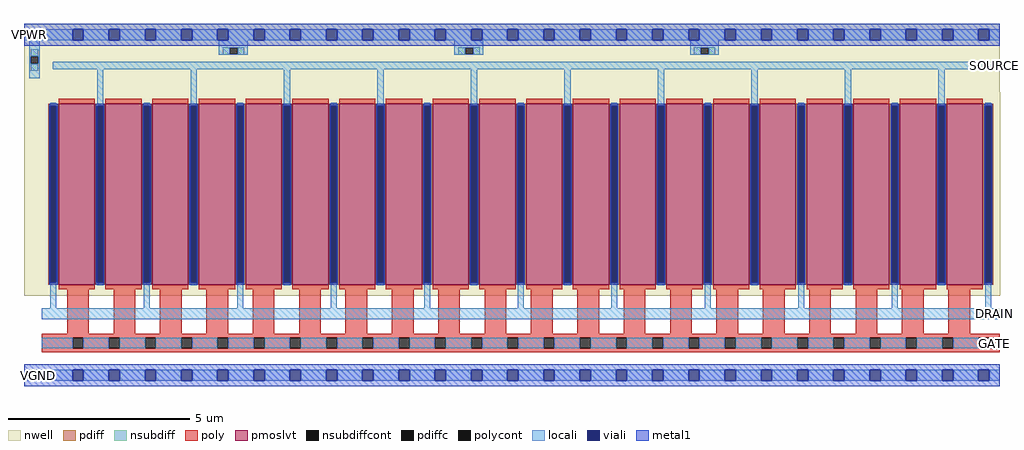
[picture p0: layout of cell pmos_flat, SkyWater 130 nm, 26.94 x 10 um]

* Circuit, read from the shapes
.subckt pmos_flat DRAIN GATE SOURCE VGND VPWR
XM1 SOURCE GATE DRAIN VPWR sky130_fd_pr__pfet_01v8_lvt w=5 l=1 m=20
.ends

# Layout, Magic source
magic
tech sky130A
magscale 1 2
<< nwell >>
rect -2742 562 2644 940
rect -2742 -562 2645 562
<< pmoslvt >>
rect -2551 -500 -2351 500
rect -2293 -500 -2093 500
rect -2035 -500 -1835 500
rect -1777 -500 -1577 500
rect -1519 -500 -1319 500
rect -1261 -500 -1061 500
rect -1003 -500 -803 500
rect -745 -500 -545 500
rect -487 -500 -287 500
rect -229 -500 -29 500
rect 29 -500 229 500
rect 287 -500 487 500
rect 545 -500 745 500
rect 803 -500 1003 500
rect 1061 -500 1261 500
rect 1319 -500 1519 500
rect 1577 -500 1777 500
rect 1835 -500 2035 500
rect 2093 -500 2293 500
rect 2351 -500 2551 500
<< pdiff >>
rect -2609 488 -2551 500
rect -2609 -488 -2597 488
rect -2563 -488 -2551 488
rect -2609 -500 -2551 -488
rect -2351 488 -2293 500
rect -2351 -488 -2339 488
rect -2305 -488 -2293 488
rect -2351 -500 -2293 -488
rect -2093 488 -2035 500
rect -2093 -488 -2081 488
rect -2047 -488 -2035 488
rect -2093 -500 -2035 -488
rect -1835 488 -1777 500
rect -1835 -488 -1823 488
rect -1789 -488 -1777 488
rect -1835 -500 -1777 -488
rect -1577 488 -1519 500
rect -1577 -488 -1565 488
rect -1531 -488 -1519 488
rect -1577 -500 -1519 -488
rect -1319 488 -1261 500
rect -1319 -488 -1307 488
rect -1273 -488 -1261 488
rect -1319 -500 -1261 -488
rect -1061 488 -1003 500
rect -1061 -488 -1049 488
rect -1015 -488 -1003 488
rect -1061 -500 -1003 -488
rect -803 488 -745 500
rect -803 -488 -791 488
rect -757 -488 -745 488
rect -803 -500 -745 -488
rect -545 488 -487 500
rect -545 -488 -533 488
rect -499 -488 -487 488
rect -545 -500 -487 -488
rect -287 488 -229 500
rect -287 -488 -275 488
rect -241 -488 -229 488
rect -287 -500 -229 -488
rect -29 488 29 500
rect -29 -488 -17 488
rect 17 -488 29 488
rect -29 -500 29 -488
rect 229 488 287 500
rect 229 -488 241 488
rect 275 -488 287 488
rect 229 -500 287 -488
rect 487 488 545 500
rect 487 -488 499 488
rect 533 -488 545 488
rect 487 -500 545 -488
rect 745 488 803 500
rect 745 -488 757 488
rect 791 -488 803 488
rect 745 -500 803 -488
rect 1003 488 1061 500
rect 1003 -488 1015 488
rect 1049 -488 1061 488
rect 1003 -500 1061 -488
rect 1261 488 1319 500
rect 1261 -488 1273 488
rect 1307 -488 1319 488
rect 1261 -500 1319 -488
rect 1519 488 1577 500
rect 1519 -488 1531 488
rect 1565 -488 1577 488
rect 1519 -500 1577 -488
rect 1777 488 1835 500
rect 1777 -488 1789 488
rect 1823 -488 1835 488
rect 1777 -500 1835 -488
rect 2035 488 2093 500
rect 2035 -488 2047 488
rect 2081 -488 2093 488
rect 2035 -500 2093 -488
rect 2293 488 2351 500
rect 2293 -488 2305 488
rect 2339 -488 2351 488
rect 2293 -500 2351 -488
rect 2551 488 2609 500
rect 2551 -488 2563 488
rect 2597 -488 2609 488
rect 2551 -500 2609 -488
<< pdiffc >>
rect -2597 -488 -2563 488
rect -2339 -488 -2305 488
rect -2081 -488 -2047 488
rect -1823 -488 -1789 488
rect -1565 -488 -1531 488
rect -1307 -488 -1273 488
rect -1049 -488 -1015 488
rect -791 -488 -757 488
rect -533 -488 -499 488
rect -275 -488 -241 488
rect -17 -488 17 488
rect 241 -488 275 488
rect 499 -488 533 488
rect 757 -488 791 488
rect 1015 -488 1049 488
rect 1273 -488 1307 488
rect 1531 -488 1565 488
rect 1789 -488 1823 488
rect 2047 -488 2081 488
rect 2305 -488 2339 488
rect 2563 -488 2597 488
<< nsubdiff >>
rect -1646 808 -1526 810
rect -2704 760 -2664 800
rect -1646 772 -1606 808
rect -1562 772 -1526 808
rect -1646 770 -1526 772
rect -346 808 -226 810
rect -346 772 -306 808
rect -262 772 -226 808
rect -346 770 -226 772
rect 954 808 1074 810
rect 954 772 994 808
rect 1038 772 1074 808
rect 954 770 1074 772
rect -2704 680 -2664 720
<< nsubdiffcont >>
rect -1606 772 -1562 808
rect -306 772 -262 808
rect 994 772 1038 808
rect -2704 720 -2664 760
<< poly >>
rect -2551 500 -2351 526
rect -2293 500 -2093 526
rect -2035 500 -1835 526
rect -1777 500 -1577 526
rect -1519 500 -1319 526
rect -1261 500 -1061 526
rect -1003 500 -803 526
rect -745 500 -545 526
rect -487 500 -287 526
rect -229 500 -29 526
rect 29 500 229 526
rect 287 500 487 526
rect 545 500 745 526
rect 803 500 1003 526
rect 1061 500 1261 526
rect 1319 500 1519 526
rect 1577 500 1777 526
rect 1835 500 2035 526
rect 2093 500 2293 526
rect 2351 500 2551 526
rect -2551 -526 -2351 -500
rect -2293 -526 -2093 -500
rect -2035 -526 -1835 -500
rect -1777 -526 -1577 -500
rect -1519 -526 -1319 -500
rect -1261 -526 -1061 -500
rect -1003 -526 -803 -500
rect -745 -526 -545 -500
rect -487 -526 -287 -500
rect -229 -526 -29 -500
rect 29 -526 229 -500
rect 287 -526 487 -500
rect 545 -526 745 -500
rect 803 -526 1003 -500
rect 1061 -526 1261 -500
rect 1319 -526 1519 -500
rect 1577 -526 1777 -500
rect 1835 -526 2035 -500
rect 2093 -526 2293 -500
rect 2351 -526 2551 -500
rect -2504 -772 -2384 -526
rect -2248 -772 -2128 -526
rect -1992 -772 -1872 -526
rect -1736 -772 -1616 -526
rect -1480 -772 -1360 -526
rect -1224 -772 -1104 -526
rect -968 -772 -848 -526
rect -712 -772 -592 -526
rect -456 -772 -336 -526
rect -200 -772 -80 -526
rect 56 -772 176 -526
rect 312 -772 432 -526
rect 568 -772 688 -526
rect 824 -772 944 -526
rect 1080 -772 1200 -526
rect 1336 -772 1456 -526
rect 1592 -772 1712 -526
rect 1848 -772 1968 -526
rect 2104 -772 2224 -526
rect 2360 -772 2480 -526
rect -2644 -792 2644 -772
rect -2644 -852 -2474 -792
rect -2414 -852 -2274 -792
rect -2214 -852 -2074 -792
rect -2014 -852 -1874 -792
rect -1814 -852 -1674 -792
rect -1614 -852 -1474 -792
rect -1414 -852 -1274 -792
rect -1214 -852 -1074 -792
rect -1014 -852 -874 -792
rect -814 -852 -674 -792
rect -614 -852 -474 -792
rect -414 -852 -274 -792
rect -214 -852 -74 -792
rect -14 -852 126 -792
rect 186 -852 326 -792
rect 386 -852 526 -792
rect 586 -852 726 -792
rect 786 -852 926 -792
rect 986 -852 1126 -792
rect 1186 -852 1326 -792
rect 1386 -852 1526 -792
rect 1586 -852 1726 -792
rect 1786 -852 1926 -792
rect 1986 -852 2126 -792
rect 2186 -852 2326 -792
rect 2386 -852 2526 -792
rect 2586 -852 2644 -792
rect -2644 -872 2644 -852
<< polycont >>
rect -2474 -852 -2414 -792
rect -2274 -852 -2214 -792
rect -2074 -852 -2014 -792
rect -1874 -852 -1814 -792
rect -1674 -852 -1614 -792
rect -1474 -852 -1414 -792
rect -1274 -852 -1214 -792
rect -1074 -852 -1014 -792
rect -874 -852 -814 -792
rect -674 -852 -614 -792
rect -474 -852 -414 -792
rect -274 -852 -214 -792
rect -74 -852 -14 -792
rect 126 -852 186 -792
rect 326 -852 386 -792
rect 526 -852 586 -792
rect 726 -852 786 -792
rect 926 -852 986 -792
rect 1126 -852 1186 -792
rect 1326 -852 1386 -792
rect 1526 -852 1586 -792
rect 1726 -852 1786 -792
rect 1926 -852 1986 -792
rect 2126 -852 2186 -792
rect 2326 -852 2386 -792
rect 2526 -852 2586 -792
<< locali >>
rect -2742 850 -2474 910
rect -2414 850 -2274 910
rect -2214 850 -2074 910
rect -2014 850 -1874 910
rect -1814 850 -1674 910
rect -1614 850 -1474 910
rect -1414 850 -1274 910
rect -1214 850 -1074 910
rect -1014 850 -874 910
rect -814 850 -674 910
rect -614 850 -474 910
rect -414 850 -274 910
rect -214 850 -74 910
rect -14 850 126 910
rect 186 850 326 910
rect 386 850 526 910
rect 586 850 726 910
rect 786 850 926 910
rect 986 850 1126 910
rect 1186 850 1326 910
rect 1386 850 1526 910
rect 1586 850 1726 910
rect 1786 850 1926 910
rect 1986 850 2126 910
rect 2186 850 2326 910
rect 2386 850 2526 910
rect 2586 850 2644 910
rect -2714 760 -2654 850
rect -1666 808 -1506 850
rect -1666 772 -1606 808
rect -1562 772 -1506 808
rect -1666 770 -1506 772
rect -366 808 -206 850
rect -366 772 -306 808
rect -262 772 -206 808
rect -366 770 -206 772
rect 934 808 1094 850
rect 934 772 994 808
rect 1038 772 1094 808
rect 934 770 1094 772
rect -2714 720 -2704 760
rect -2664 720 -2654 760
rect -2714 640 -2654 720
rect -2584 690 2644 730
rect -2597 488 -2563 504
rect -2597 -630 -2563 -488
rect -2339 488 -2305 690
rect -2339 -504 -2305 -488
rect -2081 488 -2047 504
rect -2081 -630 -2047 -488
rect -1823 488 -1789 690
rect -1823 -504 -1789 -488
rect -1565 488 -1531 504
rect -1565 -630 -1531 -488
rect -1307 488 -1273 690
rect -1307 -504 -1273 -488
rect -1049 488 -1015 504
rect -1049 -630 -1015 -488
rect -791 488 -757 690
rect -791 -504 -757 -488
rect -533 488 -499 504
rect -533 -630 -499 -488
rect -275 488 -241 690
rect -275 -504 -241 -488
rect -17 488 17 504
rect -17 -630 17 -488
rect 241 488 275 690
rect 241 -504 275 -488
rect 499 488 533 504
rect 499 -630 533 -488
rect 757 488 791 690
rect 757 -504 791 -488
rect 1015 488 1049 504
rect 1015 -630 1049 -488
rect 1273 488 1307 690
rect 1273 -504 1307 -488
rect 1531 488 1565 504
rect 1531 -630 1565 -488
rect 1789 488 1823 690
rect 1789 -504 1823 -488
rect 2047 488 2081 504
rect 2047 -630 2081 -488
rect 2305 488 2339 690
rect 2305 -504 2339 -488
rect 2563 488 2597 504
rect 2563 -630 2597 -488
rect -2644 -690 2644 -630
rect -2644 -852 -2474 -792
rect -2414 -852 -2274 -792
rect -2214 -852 -2074 -792
rect -2014 -852 -1874 -792
rect -1814 -852 -1674 -792
rect -1614 -852 -1474 -792
rect -1414 -852 -1274 -792
rect -1214 -852 -1074 -792
rect -1014 -852 -874 -792
rect -814 -852 -674 -792
rect -614 -852 -474 -792
rect -414 -852 -274 -792
rect -214 -852 -74 -792
rect -14 -852 126 -792
rect 186 -852 326 -792
rect 386 -852 526 -792
rect 586 -852 726 -792
rect 786 -852 926 -792
rect 986 -852 1126 -792
rect 1186 -852 1326 -792
rect 1386 -852 1526 -792
rect 1586 -852 1726 -792
rect 1786 -852 1926 -792
rect 1986 -852 2126 -792
rect 2186 -852 2326 -792
rect 2386 -852 2526 -792
rect 2586 -852 2644 -792
rect -2742 -1030 -2474 -970
rect -2414 -1030 -2274 -970
rect -2214 -1030 -2074 -970
rect -2014 -1030 -1874 -970
rect -1814 -1030 -1674 -970
rect -1614 -1030 -1474 -970
rect -1414 -1030 -1274 -970
rect -1214 -1030 -1074 -970
rect -1014 -1030 -874 -970
rect -814 -1030 -674 -970
rect -614 -1030 -474 -970
rect -414 -1030 -274 -970
rect -214 -1030 -74 -970
rect -14 -1030 126 -970
rect 186 -1030 326 -970
rect 386 -1030 526 -970
rect 586 -1030 726 -970
rect 786 -1030 926 -970
rect 986 -1030 1126 -970
rect 1186 -1030 1326 -970
rect 1386 -1030 1526 -970
rect 1586 -1030 1726 -970
rect 1786 -1030 1926 -970
rect 1986 -1030 2126 -970
rect 2186 -1030 2326 -970
rect 2386 -1030 2526 -970
rect 2586 -1030 2644 -970
<< viali >>
rect -2474 850 -2414 910
rect -2274 850 -2214 910
rect -2074 850 -2014 910
rect -1874 850 -1814 910
rect -1674 850 -1614 910
rect -1474 850 -1414 910
rect -1274 850 -1214 910
rect -1074 850 -1014 910
rect -874 850 -814 910
rect -674 850 -614 910
rect -474 850 -414 910
rect -274 850 -214 910
rect -74 850 -14 910
rect 126 850 186 910
rect 326 850 386 910
rect 526 850 586 910
rect 726 850 786 910
rect 926 850 986 910
rect 1126 850 1186 910
rect 1326 850 1386 910
rect 1526 850 1586 910
rect 1726 850 1786 910
rect 1926 850 1986 910
rect 2126 850 2186 910
rect 2326 850 2386 910
rect 2526 850 2586 910
rect -2597 -488 -2563 488
rect -2339 -488 -2305 488
rect -2081 -488 -2047 488
rect -1823 -488 -1789 488
rect -1565 -488 -1531 488
rect -1307 -488 -1273 488
rect -1049 -488 -1015 488
rect -791 -488 -757 488
rect -533 -488 -499 488
rect -275 -488 -241 488
rect -17 -488 17 488
rect 241 -488 275 488
rect 499 -488 533 488
rect 757 -488 791 488
rect 1015 -488 1049 488
rect 1273 -488 1307 488
rect 1531 -488 1565 488
rect 1789 -488 1823 488
rect 2047 -488 2081 488
rect 2305 -488 2339 488
rect 2563 -488 2597 488
rect -2474 -1030 -2414 -970
rect -2274 -1030 -2214 -970
rect -2074 -1030 -2014 -970
rect -1874 -1030 -1814 -970
rect -1674 -1030 -1614 -970
rect -1474 -1030 -1414 -970
rect -1274 -1030 -1214 -970
rect -1074 -1030 -1014 -970
rect -874 -1030 -814 -970
rect -674 -1030 -614 -970
rect -474 -1030 -414 -970
rect -274 -1030 -214 -970
rect -74 -1030 -14 -970
rect 126 -1030 186 -970
rect 326 -1030 386 -970
rect 526 -1030 586 -970
rect 726 -1030 786 -970
rect 926 -1030 986 -970
rect 1126 -1030 1186 -970
rect 1326 -1030 1386 -970
rect 1526 -1030 1586 -970
rect 1726 -1030 1786 -970
rect 1926 -1030 1986 -970
rect 2126 -1030 2186 -970
rect 2326 -1030 2386 -970
rect 2526 -1030 2586 -970
<< metal1 >>
rect -2742 910 2644 940
rect -2742 850 -2474 910
rect -2414 850 -2274 910
rect -2214 850 -2074 910
rect -2014 850 -1874 910
rect -1814 850 -1674 910
rect -1614 850 -1474 910
rect -1414 850 -1274 910
rect -1214 850 -1074 910
rect -1014 850 -874 910
rect -814 850 -674 910
rect -614 850 -474 910
rect -414 850 -274 910
rect -214 850 -74 910
rect -14 850 126 910
rect 186 850 326 910
rect 386 850 526 910
rect 586 850 726 910
rect 786 850 926 910
rect 986 850 1126 910
rect 1186 850 1326 910
rect 1386 850 1526 910
rect 1586 850 1726 910
rect 1786 850 1926 910
rect 1986 850 2126 910
rect 2186 850 2326 910
rect 2386 850 2526 910
rect 2586 850 2644 910
rect -2742 820 2644 850
rect -2603 488 -2557 500
rect -2603 -488 -2597 488
rect -2563 -488 -2557 488
rect -2603 -500 -2557 -488
rect -2345 488 -2299 500
rect -2345 -488 -2339 488
rect -2305 -488 -2299 488
rect -2345 -500 -2299 -488
rect -2087 488 -2041 500
rect -2087 -488 -2081 488
rect -2047 -488 -2041 488
rect -2087 -500 -2041 -488
rect -1829 488 -1783 500
rect -1829 -488 -1823 488
rect -1789 -488 -1783 488
rect -1829 -500 -1783 -488
rect -1571 488 -1525 500
rect -1571 -488 -1565 488
rect -1531 -488 -1525 488
rect -1571 -500 -1525 -488
rect -1313 488 -1267 500
rect -1313 -488 -1307 488
rect -1273 -488 -1267 488
rect -1313 -500 -1267 -488
rect -1055 488 -1009 500
rect -1055 -488 -1049 488
rect -1015 -488 -1009 488
rect -1055 -500 -1009 -488
rect -797 488 -751 500
rect -797 -488 -791 488
rect -757 -488 -751 488
rect -797 -500 -751 -488
rect -539 488 -493 500
rect -539 -488 -533 488
rect -499 -488 -493 488
rect -539 -500 -493 -488
rect -281 488 -235 500
rect -281 -488 -275 488
rect -241 -488 -235 488
rect -281 -500 -235 -488
rect -23 488 23 500
rect -23 -488 -17 488
rect 17 -488 23 488
rect -23 -500 23 -488
rect 235 488 281 500
rect 235 -488 241 488
rect 275 -488 281 488
rect 235 -500 281 -488
rect 493 488 539 500
rect 493 -488 499 488
rect 533 -488 539 488
rect 493 -500 539 -488
rect 751 488 797 500
rect 751 -488 757 488
rect 791 -488 797 488
rect 751 -500 797 -488
rect 1009 488 1055 500
rect 1009 -488 1015 488
rect 1049 -488 1055 488
rect 1009 -500 1055 -488
rect 1267 488 1313 500
rect 1267 -488 1273 488
rect 1307 -488 1313 488
rect 1267 -500 1313 -488
rect 1525 488 1571 500
rect 1525 -488 1531 488
rect 1565 -488 1571 488
rect 1525 -500 1571 -488
rect 1783 488 1829 500
rect 1783 -488 1789 488
rect 1823 -488 1829 488
rect 1783 -500 1829 -488
rect 2041 488 2087 500
rect 2041 -488 2047 488
rect 2081 -488 2087 488
rect 2041 -500 2087 -488
rect 2299 488 2345 500
rect 2299 -488 2305 488
rect 2339 -488 2345 488
rect 2299 -500 2345 -488
rect 2557 488 2603 500
rect 2557 -488 2563 488
rect 2597 -488 2603 488
rect 2557 -500 2603 -488
rect -2742 -970 2644 -940
rect -2742 -1030 -2474 -970
rect -2414 -1030 -2274 -970
rect -2214 -1030 -2074 -970
rect -2014 -1030 -1874 -970
rect -1814 -1030 -1674 -970
rect -1614 -1030 -1474 -970
rect -1414 -1030 -1274 -970
rect -1214 -1030 -1074 -970
rect -1014 -1030 -874 -970
rect -814 -1030 -674 -970
rect -614 -1030 -474 -970
rect -414 -1030 -274 -970
rect -214 -1030 -74 -970
rect -14 -1030 126 -970
rect 186 -1030 326 -970
rect 386 -1030 526 -970
rect 586 -1030 726 -970
rect 786 -1030 926 -970
rect 986 -1030 1126 -970
rect 1186 -1030 1326 -970
rect 1386 -1030 1526 -970
rect 1586 -1030 1726 -970
rect 1786 -1030 1926 -970
rect 1986 -1030 2126 -970
rect 2186 -1030 2326 -970
rect 2386 -1030 2526 -970
rect 2586 -1030 2644 -970
rect -2742 -1060 2644 -1030
<< labels >>
flabel nwell -2742 850 -2682 910 1 FreeSans 800 0 0 0 VPWR
flabel metal1 -2742 -1030 -2584 -970 1 FreeSans 800 0 0 0 VGND
flabel locali 2584 690 2644 730 1 FreeSans 800 0 0 0 SOURCE
flabel locali 2584 -690 2644 -630 1 FreeSans 800 0 0 0 DRAIN
flabel locali 2584 -852 2644 -792 1 FreeSans 800 0 0 0 GATE
<< end >>
